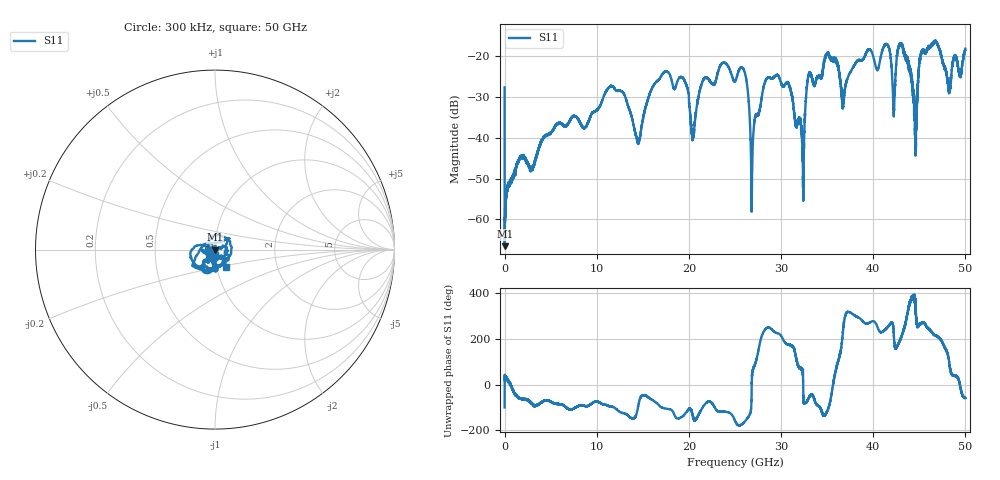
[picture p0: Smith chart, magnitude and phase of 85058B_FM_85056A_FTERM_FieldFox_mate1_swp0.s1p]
!Created with skrf (http://scikit-rf.org).
# Hz S RI R 50.0
!freq ReS11 ImS11
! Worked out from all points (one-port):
!   10001 points, 300 kHz to 50 GHz, reference 50 ohm
!   lowest |S11| = -66.6 dB at 20.3 MHz (marker M1), VSWR 1.00, Z = 50 - j0.00985 ohm
!   |S11| at or under -10 dB: start of sweep to end of sweep
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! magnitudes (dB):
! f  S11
! 300 kHz  -27.6
! 20.3 MHz  -66.6
! 255.3 MHz  -53.3
! 6.25 GHz  -36.8
! 12.5 GHz  -28.5
! 14.49 GHz  -41.3
! 16.23 GHz  -26.9
! 18.75 GHz  -26.1
! 19.71 GHz  -26.9
! 20.44 GHz  -40.1
! 21.65 GHz  -25.4
! 25 GHz  -26.1
! 26.08 GHz  -24.1
! 26.87 GHz  -47.9
! 28.48 GHz  -25.4
! 31.25 GHz  -30.4
! 32.33 GHz  -45.3
! 33.09 GHz  -23.9
! 35.12 GHz  -19.5
! 36.74 GHz  -31.9
! 37.5 GHz  -24.0
! 42.23 GHz  -34.8
! 43.75 GHz  -20.2
! 44.55 GHz  -35.0
! 45.36 GHz  -18.4
! 46.87 GHz  -16.6
! 48.22 GHz  -29.1
! 50 GHz  -18.2
